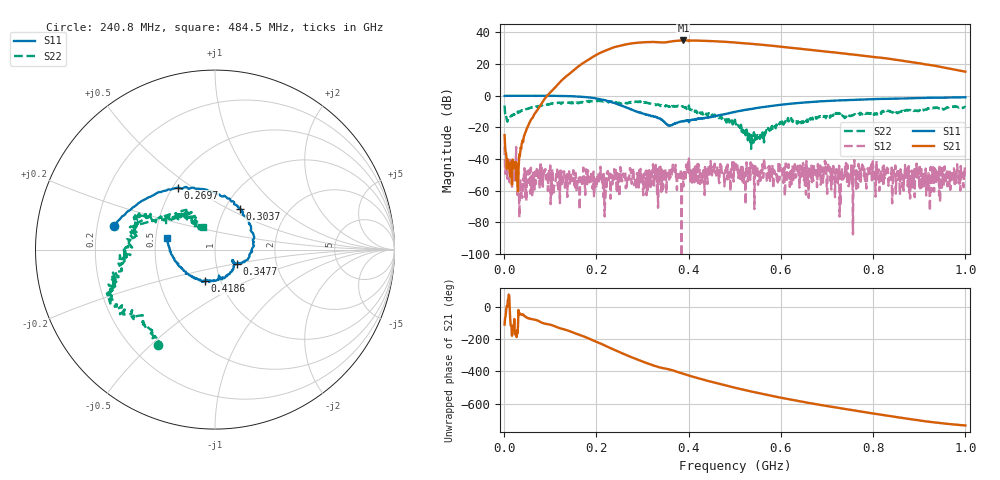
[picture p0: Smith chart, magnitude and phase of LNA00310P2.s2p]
! Created with skrf 1.9.0 (http://scikit-rf.org).
# Hz S RI R 50.0
!freq ReS11 ImS11 ReS21 ImS21 ReS12 ImS12 ReS22 ImS22
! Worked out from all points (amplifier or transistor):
!   1001 points, 1 MHz to 1 GHz, reference 50 ohm
!   highest |S21| = 35.0 dB at 388.6 MHz (marker M1)
!   |S21| within 3 dB of that: 255.6 MHz to 568.2 MHz (312.6 MHz wide, 75.9 % of centre)
!   unconditionally stable (mu >= 1): start of sweep to 85.53 MHz; 224.8 MHz to 400.5 MHz; 400.7 MHz to end of sweep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
!   at 166.8 MHz: K = 1.02, MAG = 35.0 dB, |S12| = -52.0 dB
!   at 500.5 MHz: K = 2.07, MAG = 34.2 dB, |S12| = -46.5 dB
!   at 1 GHz: K = 2.08, MAG = 23.7 dB, |S12| = -43.9 dB
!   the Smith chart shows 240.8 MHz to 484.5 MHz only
!   S11 on the Smith chart (normalised r, x): 240.8 MHz: 0.27, +0.11; 269.7 MHz: 0.53, +0.44; 303.7 MHz: 1.17, +0.58; 347.7 MHz: 1.26, -0.21; 418.6 MHz: 0.84, -0.31; 484.5 MHz: 0.57, +0.08
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1000000  0.9813 0.00357  -0.0177 -0.0542  -0.0251 0.000735  0.357 0.3339
1.08892e8  0.5162 -0.8502  -0.8091 -1.536  -0.00137 0.000301  0.4369 -0.3701
1.67833e8  -0.2415 -0.896  -10 -0.5779  -8.26e-05 0.00208  0.0514 -0.6258
2.08792e8  -0.6676 -0.393  -15.79 16.6  -0.00215 -0.0053  -0.1854 -0.6607
2.4076e8  -0.5628 0.1297  -1.448 34.9  -0.00261 -0.000264  -0.32 -0.5337
2.69731e8  -0.2087 0.3452  24.22 35.94  -1.58e-05 0.00244  -0.4817 -0.3626
3.03697e8  0.1396 0.2281  46.78 14.54  -0.00116 0.000467  -0.5677 -0.2123
3.34666e8  0.1908 -0.0304  47.93 -10.88  0.00149 -0.000776  -0.531 -0.0668
3.47653e8  0.1216 -0.08  45.16 -17.71  0.00144 0.00246  -0.5003 0.00813
3.68632e8  0.1079 -0.0749  43.33 -31.81  -0.00285 0.00435  -0.4399 0.1498
3.88612e8  0.0746 -0.1369  32.03 -45.86  -0.00136 -3.66e-05  -0.4114 0.1746
4.18582e8  -0.0584 -0.1762  8.995 -54.33  0.00219 0.00373  -0.2215 0.1747
4.49551e8  -0.1898 -0.1005  -13.99 -51.41  0.00331 0.00101  -0.1395 0.2044
4.84516e8  -0.2685 0.0644  -32.57 -38.15  0.00647 0.00168  -0.0695 0.1281
5.005e8  -0.2686 0.1469  -38.06 -29.92  -0.0047 -0.000451  -0.0966 0.146
5.4046e8  -0.1867 0.3463  -42.11 -8.93  0.00151 -0.00311  -0.0183 0.0275
5.88412e8  0.0221 0.498  -35.31 11.14  0.00331 -7.25e-05  -0.0657 -0.0666
6.67333e8  0.4041 0.4937  -13.93 23.95  4.18e-05 0.00186  -0.1791 -0.0454
7.53247e8  0.6835 0.2804  3.756 19.89  0.00106 -0.00753  -0.2293 -0.0224
8.34166e8  0.8024 0.0134  10.81 10.06  0.000962 0.00222  -0.3255 -0.0336
9.17083e8  0.8172 -0.273  9.544 1.366  0.00135 0.000249  -0.351 0.0977
1e9  0.7288 -0.5246  5.535 -1.656  0.00389 0.00505  -0.3646 0.2248
